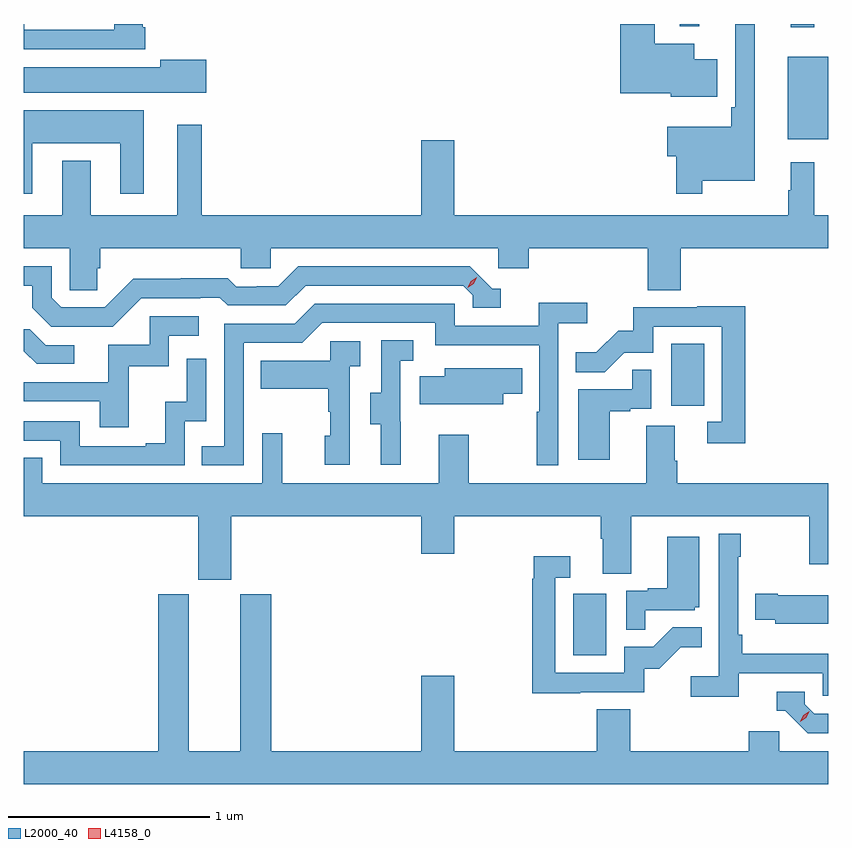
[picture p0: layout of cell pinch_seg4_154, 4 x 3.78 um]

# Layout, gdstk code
import gdstk
lib = gdstk.Library(unit=1e-6, precision=1e-09)
def R(c, l, rs):  # rectangles x0, y0, x1, y1
    for r in rs: c.add(gdstk.rectangle(r[:2], r[2:], *l))
def P(c, l, *ps):  # polygons
    for p in ps: c.add(gdstk.Polygon(p, *l))
L2000_40 = (2000, 40)
L4158_0 = (4158, 0)

pinch_seg4_154 = lib.new_cell('pinch_seg4_154')
R(pinch_seg4_154, L2000_40, [(1124.804,792.132,1124.968,792.439), (1125.29,793.374,1125.454,793.681), (1125.869,794.699,1126.071,795.109), (1125.884,795.255,1126.001,795.272), (1125.333,795.26,1125.431,795.272)])
P(pinch_seg4_154, L2000_40, [(1125.445,794.492),(1125.706,794.492),(1125.706,795.272),(1125.609,795.272),(1125.609,794.857),(1125.589,794.857),(1125.589,794.761),(1125.272,794.761),(1125.272,794.614),(1125.316,794.614),(1125.316,794.427),(1125.445,794.427)],
  [(1125.52,795.097),(1125.406,795.097),(1125.406,795.175),(1125.208,795.175),(1125.208,795.272),(1125.038,795.272),(1125.038,794.927),(1125.288,794.927),(1125.288,794.909),(1125.52,794.909)],
  [(1122.674,795.255),(1122.661,795.255),(1122.661,795.272),(1122.521,795.272),(1122.521,795.243),(1122.073,795.243),(1122.073,795.272),(1122.071,795.272),(1122.071,795.147),(1122.674,795.147)],
  [(1122.979,795.094),(1122.749,795.094),(1122.749,795.058),(1122.071,795.058),(1122.071,794.93),(1122.979,794.93)],
  [(1122.112,794.678),(1122.551,794.678),(1122.551,794.427),(1122.667,794.427),(1122.667,794.842),(1122.071,794.842),(1122.071,794.427),(1122.112,794.427)],
  [(1122.437,794.058),(1122.452,794.058),(1122.452,794.156),(1123.149,794.156),(1123.149,794.058),(1123.299,794.058),(1123.299,794.156),(1124.43,794.156),(1124.43,794.058),(1124.582,794.058),(1124.582,794.156),(1125.173,794.156),(1125.173,793.948),(1125.338,793.948),(1125.338,794.156),(1126.071,794.156),(1126.071,794.32),(1126.001,794.32),(1126.001,794.584),(1125.884,794.584),(1125.884,794.444),(1125.873,794.444),(1125.873,794.32),(1124.212,794.32),(1124.212,794.695),(1124.048,794.695),(1124.048,794.32),(1122.955,794.32),(1122.955,794.77),(1122.833,794.77),(1122.833,794.32),(1122.403,794.32),(1122.403,794.593),(1122.263,794.593),(1122.263,794.32),(1122.071,794.32),(1122.071,794.156),(1122.3,794.156),(1122.3,793.948),(1122.437,793.948)],
  [(1122.654,793.908),(1122.947,793.908),(1122.947,793.911),(1123.046,793.911),(1123.085,793.872),(1123.374,793.872),(1123.473,793.971),(1124.256,793.971),(1124.304,793.923),(1124.304,793.86),(1124.443,793.86),(1124.443,793.956),(1124.4,793.956),(1124.289,794.067),(1123.436,794.067),(1123.337,793.968),(1123.23,793.968),(1123.23,793.965),(1123.127,793.965),(1123.085,794.008),(1122.852,794.008),(1122.852,794.005),(1122.616,794.005),(1122.474,793.863),(1122.258,793.863),(1122.21,793.911),(1122.21,794.067),(1122.071,794.067),(1122.071,793.971),(1122.113,793.971),(1122.113,793.861),(1122.207,793.767),(1122.513,793.767)],
  [(1123.164,793.686),(1123.455,793.686),(1123.554,793.785),(1124.118,793.785),(1124.118,793.674),(1124.634,793.674),(1124.634,793.343),(1124.622,793.343),(1124.622,793.077),(1124.73,793.077),(1124.73,793.784),(1124.872,793.784),(1124.872,793.886),(1124.633,793.886),(1124.633,793.77),(1124.214,793.77),(1124.214,793.881),(1123.517,793.881),(1123.418,793.782),(1123.068,793.782),(1123.068,793.173),(1122.955,793.173),(1122.955,793.077),(1123.164,793.077)],
  [(1125.659,793.868),(1125.421,793.868),(1125.421,793.863),(1125.103,793.863),(1125.103,793.746),(1125.026,793.746),(1124.919,793.639),(1124.815,793.639),(1124.815,793.54),(1124.959,793.54),(1125.057,793.638),(1125.201,793.638),(1125.201,793.767),(1125.543,793.767),(1125.543,793.293),(1125.471,793.293),(1125.471,793.188),(1125.659,793.188)],
  [(1122.593,793.569),(1122.792,793.569),(1122.792,793.722),(1122.94,793.722),(1122.94,793.818),(1122.696,793.818),(1122.696,793.677),(1122.491,793.677),(1122.491,793.491),(1122.071,793.491),(1122.071,793.395),(1122.449,793.395),(1122.449,793.266),(1122.593,793.266)],
  [(1122.322,793.674),(1122.18,793.674),(1122.1,793.754),(1122.071,793.754),(1122.071,793.644),(1122.134,793.581),(1122.322,793.581)],
  [(1123.946,793.293),(1123.944,793.293),(1123.944,793.597),(1124.008,793.597),(1124.008,793.7),(1123.848,793.7),(1123.848,793.437),(1123.793,793.437),(1123.793,793.282),(1123.847,793.282),(1123.847,793.08),(1123.946,793.08)],
  [(1123.692,793.571),(1123.744,793.571),(1123.744,793.695),(1123.596,793.695),(1123.596,793.597),(1123.249,793.597),(1123.249,793.457),(1123.584,793.457),(1123.584,793.343),(1123.594,793.343),(1123.594,793.224),(1123.568,793.224),(1123.568,793.08),(1123.692,793.08)],
  [(1122.87,793.296),(1122.978,793.296),(1122.978,793.606),(1122.882,793.606),(1122.882,793.394),(1122.773,793.394),(1122.773,793.186),(1122.677,793.186),(1122.677,793.173),(1122.348,793.173),(1122.348,793.296),(1122.071,793.296),(1122.071,793.2),(1122.252,793.2),(1122.252,793.077),(1122.87,793.077)],
  [(1124.455,793.432),(1124.549,793.432),(1124.549,793.561),(1124.165,793.561),(1124.165,793.519),(1124.041,793.519),(1124.041,793.382),(1124.455,793.382)],
  [(1124.986,793.347),(1125.086,793.347),(1125.086,793.359),(1125.192,793.359),(1125.192,793.553),(1125.097,793.553),(1125.097,793.455),(1124.828,793.455),(1124.828,793.104),(1124.986,793.104)],
  [(1123.102,792.824),(1124.048,792.824),(1124.048,792.636),(1124.212,792.636),(1124.212,792.824),(1124.939,792.824),(1124.939,792.712),(1124.951,792.712),(1124.951,792.538),(1125.091,792.538),(1125.091,792.824),(1125.976,792.824),(1125.976,792.585),(1126.071,792.585),(1126.071,792.988),(1125.32,792.988),(1125.32,793.1),(1125.307,793.1),(1125.307,793.274),(1125.167,793.274),(1125.167,792.988),(1124.283,792.988),(1124.283,793.228),(1124.135,793.228),(1124.135,792.988),(1123.355,792.988),(1123.355,793.237),(1123.257,793.237),(1123.257,792.988),(1122.162,792.988),(1122.162,793.115),(1122.071,793.115),(1122.071,792.824),(1122.938,792.824),(1122.938,792.507),(1123.102,792.507)],
  [(1125.626,792.042),(1126.044,792.042),(1126.044,791.931),(1126.071,791.931),(1126.071,792.139),(1125.644,792.139),(1125.644,792.235),(1125.624,792.235),(1125.624,792.623),(1125.637,792.623),(1125.637,792.736),(1125.528,792.736),(1125.528,792.028),(1125.387,792.028),(1125.387,791.926),(1125.626,791.926)],
  [(1125.161,792.357),(1125.408,792.357),(1125.408,792.372),(1125.43,792.372),(1125.43,792.721),(1125.272,792.721),(1125.272,792.466),(1125.173,792.466),(1125.173,792.453),(1125.066,792.453),(1125.066,792.259),(1125.161,792.259)],
  [(1124.837,791.949),(1125.156,791.949),(1125.156,792.066),(1125.232,792.066),(1125.339,792.173),(1125.443,792.173),(1125.443,792.272),(1125.299,792.272),(1125.201,792.174),(1125.057,792.174),(1125.057,792.045),(1124.715,792.045),(1124.715,792.519),(1124.788,792.519),(1124.788,792.625),(1124.607,792.625),(1124.607,792.512),(1124.599,792.512),(1124.599,791.944),(1124.837,791.944)],
  [(1126.071,792.43),(1125.82,792.43),(1125.82,792.438),(1125.709,792.438),(1125.709,792.308),(1125.807,792.308),(1125.807,792.29),(1126.071,792.29)],
  [(1126.071,791.656),(1125.828,791.656),(1125.828,791.754),(1125.677,791.754),(1125.677,791.656),(1125.086,791.656),(1125.086,791.864),(1124.921,791.864),(1124.921,791.656),(1124.212,791.656),(1124.212,792.031),(1124.048,792.031),(1124.048,791.656),(1123.301,791.656),(1123.301,792.435),(1123.148,792.435),(1123.148,791.656),(1122.892,791.656),(1122.892,792.435),(1122.74,792.435),(1122.74,791.656),(1122.071,791.656),(1122.071,791.492),(1126.071,791.492)],
  [(1126.071,791.841),(1126.002,791.841),(1125.954,791.889),(1125.954,791.952),(1125.815,791.952),(1125.815,791.856),(1125.858,791.856),(1125.969,791.745),(1126.071,791.745)])
P(pinch_seg4_154, L4158_0, [(1125.932,791.802),(1125.932,791.802),(1125.948,791.835),(1125.978,791.854),(1125.978,791.854),(1125.978,791.854),(1125.963,791.822),(1125.932,791.802)],
  [(1124.278,793.959),(1124.278,793.959),(1124.293,793.992),(1124.323,794.012),(1124.324,794.012),(1124.324,794.012),(1124.308,793.979),(1124.278,793.959)])

lib.write_gds('pinch_seg4_154.gds')
